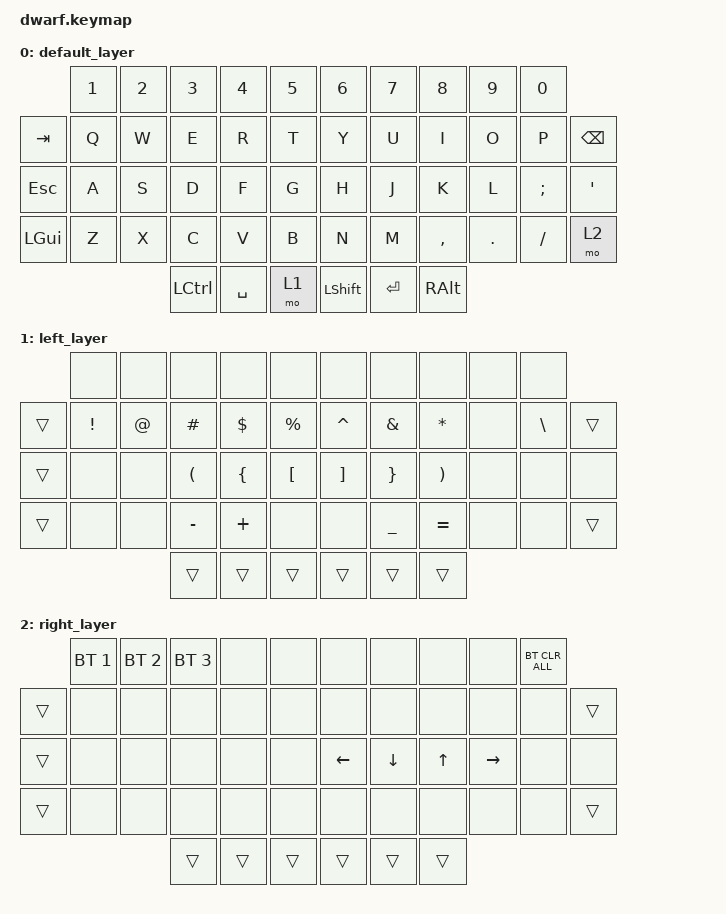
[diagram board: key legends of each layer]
#include <behaviors.dtsi>
#include <dt-bindings/zmk/keys.h>
#include <dt-bindings/zmk/bt.h>
#include <dt-bindings/zmk/pointing.h>

/ {

        behaviors {
            hm: homerow_mods {
                compatible = "zmk,behavior-hold-tap";
                label = "HOMEROW_MODS";
                #binding-cells = <2>;
                tapping-term-ms = <300>;
                quick_tap_ms = <0>;
                flavor = "tap-preferred";
                bindings = <         &kp>, <         &kp>;
            };
        };

        keymap {
                compatible = "zmk,keymap";

            default_layer {
        bindings = <
    //|---------------|---------------|---------------|---------------|---------------|----------------||||---------------|---------------|---------------|---------------|---------------|---------------|
                         &kp N1         &kp N2          &kp N3          &kp N4          &kp N5              &kp N6          &kp N7          &kp N8          &kp N9          &kp N0
    //|---------------|---------------|---------------|---------------|---------------|----------------||||---------------|---------------|---------------|---------------|---------------|---------------|
        &kp TAB          &kp Q          &kp W           &kp E           &kp R           &kp T               &kp Y           &kp U           &kp I           &kp O           &kp P           &kp BSPC
    //|---------------|---------------|---------------|---------------|---------------|----------------||||---------------|---------------|---------------|---------------|---------------|---------------|
        &kp ESC          &kp A          &kp S           &kp D           &kp F           &kp G               &kp H           &kp J           &kp K           &kp L           &kp SEMI        &kp SQT
    //|---------------|---------------|---------------|---------------|---------------|----------------||||---------------|---------------|---------------|---------------|---------------|---------------|
        &kp LGUI         &kp Z          &kp X           &kp C           &kp V           &kp B               &kp N           &kp M           &kp COMMA       &kp DOT         &kp SLASH       &mo 2
    //|---------------|---------------|---------------|---------------|---------------|----------------||||---------------|---------------|---------------|---------------|---------------|---------------|
                                                        &kp LCTL        &kp SPACE       &mo 1               &kp LSHFT      &kp ENTER       &kp RALT
    //                                                |---------------|---------------|----------------||||---------------|---------------|---------------|
        >;
        };

            left_layer {
        bindings = <
    //|---------------|---------------|---------------|---------------|---------------|----------------||||---------------|---------------|---------------|---------------|---------------|---------------|
                         &none          &none           &none           &none           &none               &none           &none           &none           &none           &none
    //|---------------|---------------|---------------|---------------|---------------|----------------||||---------------|---------------|---------------|---------------|---------------|---------------|
        &trans           &kp EXCL       &kp AT          &kp HASH        &kp DLLR        &kp PRCNT           &kp CARET       &kp AMPS        &kp STAR        &none           &kp BSLH        &trans
    //|---------------|---------------|---------------|---------------|---------------|----------------||||---------------|---------------|---------------|---------------|---------------|---------------|
        &trans           &none          &none           &kp LPAR        &kp LBRC        &kp LBKT            &kp RBKT        &kp RBRC        &kp RPAR        &none           &none           &none
    //|---------------|---------------|---------------|---------------|---------------|----------------||||---------------|---------------|---------------|---------------|---------------|---------------|
        &trans           &none          &none           &kp MINUS       &kp PLUS        &none               &none           &kp UNDER       &kp EQUAL       &none           &none           &trans
    //|---------------|---------------|---------------|---------------|---------------|----------------||||---------------|---------------|---------------|---------------|---------------|---------------|
                                                        &trans          &trans          &trans              &trans          &trans          &trans
    //                                                |---------------|---------------|----------------||||---------------|---------------|---------------|
        >;
        };

            right_layer {
        bindings = <
    //|---------------|---------------|---------------|---------------|---------------|----------------||||---------------|---------------|---------------|---------------|---------------|---------------|
                         &bt BT_SEL 1   &bt BT_SEL 2    &bt BT_SEL 3    &none           &none               &none           &none           &none           &none           &bt BT_CLR_ALL
    //|---------------|---------------|---------------|---------------|---------------|----------------||||---------------|---------------|---------------|---------------|---------------|---------------|
        &trans           &none          &none           &none           &none           &none               &none           &none           &none           &none           &none           &trans
    //|---------------|---------------|---------------|---------------|---------------|----------------||||---------------|---------------|---------------|---------------|---------------|---------------|
        &trans           &none          &none           &none           &none           &none               &kp LEFT        &kp DOWN        &kp UP          &kp RIGHT       &none           &none
    //|---------------|---------------|---------------|---------------|---------------|----------------||||---------------|---------------|---------------|---------------|---------------|---------------|
        &trans           &none          &none           &none           &none           &none               &none           &none           &none           &none           &none           &trans
    //|---------------|---------------|---------------|---------------|---------------|----------------||||---------------|---------------|---------------|---------------|---------------|---------------|
                                                        &trans          &trans          &trans              &trans          &trans          &trans
    //                                                |---------------|---------------|----------------||||---------------|---------------|---------------|
        >;
        };
    };
};
